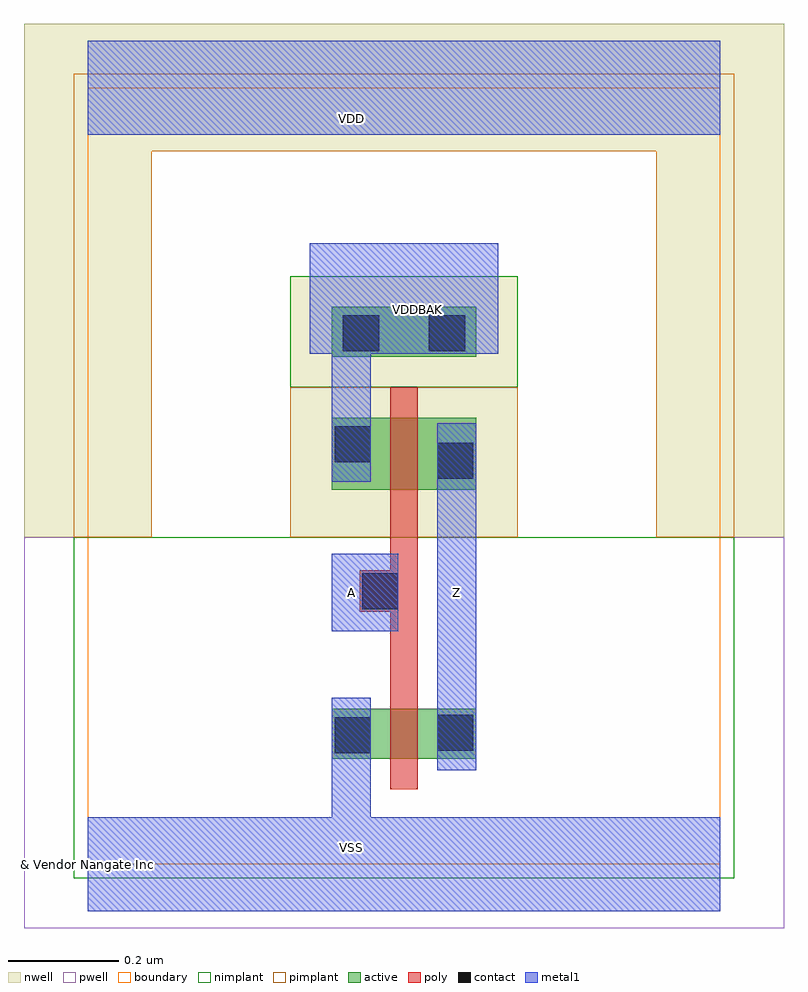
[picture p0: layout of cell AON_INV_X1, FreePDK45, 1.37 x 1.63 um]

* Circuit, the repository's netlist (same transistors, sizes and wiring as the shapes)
* 
* ******************************************************************************
* *                                                                            *
* *                   Copyright (C) 2004-2011, Nangate Inc.                    *
* *                           All rights reserved.                             *
* *                                                                            *
* * Nangate and the Nangate logo are trademarks of Nangate Inc.                *
* *                                                                            *
* * All trademarks, logos, software marks, and trade names (collectively the   *
* * "Marks") in this program are proprietary to Nangate or other respective    *
* * owners that have granted Nangate the right and license to use such Marks.  *
* * You are not permitted to use the Marks without the prior written consent   *
* * of Nangate or such third party that may own the Marks.                     *
* *                                                                            *
* * This file has been provided pursuant to a License Agreement containing     *
* * restrictions on its use. This file contains valuable trade secrets and     *
* * proprietary information of Nangate Inc., and is protected by U.S. and      *
* * international laws and/or treaties.                                        *
* *                                                                            *
* * The copyright notice(s) in this file does not indicate actual or intended  *
* * publication of this file.                                                  *
* *                                                                            *
* *     NGLibraryCreator, v2010.08-HR32-SP3-2010-08-05 - build 1009061800      *
* *                                                                            *
* ******************************************************************************
* 
* 
* Running on server08.nangate.com for user Giancarlo Franciscatto (gfr).
* Local time is now Thu, 6 Jan 2011, 19:45:43.
* Main process id is 3320.
*
********************************************************************************
*                                                                              *
* Cellname:   AON_INV_X1.                                                      *
*                                                                              *
* Technology: NCSU FreePDK 45nm.                                               *
* Format:     Cdl.                                                             *
*                                                                              *
* Written on server08.nangate.com for user Giancarlo Franciscatto (gfr)        *
* at 19:45:43 on Thu, 6 Jan 2011.                                              *
*                                                                              *
********************************************************************************
.SUBCKT AON_INV_X1 A Z VDD VDDBAK VSS 
*.PININFO A:I Z:O VDD:P VDDBAK:P VSS:G 
*.EQN Z=!A
M_i_0 Z A VSS VSS NMOS_VTL W=0.090000U L=0.050000U
M_i_7 Z A VDDBAK VDDBAK PMOS_VTL W=0.130000U L=0.050000U
.ENDS 

********************************************************************************
*
* END
*
********************************************************************************

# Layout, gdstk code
import gdstk
lib = gdstk.Library(unit=1e-6, precision=1e-10)
def R(c, l, rs):  # rectangles x0, y0, x1, y1
    for r in rs: c.add(gdstk.rectangle(r[:2], r[2:], *l))
def P(c, l, *ps):  # polygons
    for p in ps: c.add(gdstk.Polygon(p, *l))
active = (1, 0)
pwell = (2, 0)
nwell = (3, 0)
nimplant = (4, 0)
pimplant = (5, 0)
poly = (9, 0)
contact = (10, 0)
metal1 = (11, 0)
boundary = (235, 0)

aon_inv_x1 = lib.new_cell('AON_INV_X1')
R(aon_inv_x1, active, [(0.44,0.19,0.7,0.28), (0.44,0.675,0.7,0.805), (0.44,0.915,0.7,1.005)])
R(aon_inv_x1, pwell, [(-0.115,-0.115,1.255,0.59)])
R(aon_inv_x1, nwell, [(0.365,0.59,0.775,1.06)])
P(aon_inv_x1, nwell, [(-0.115,0.59),(0.115,0.59),(0.115,1.285),(1.025,1.285),(1.025,0.59),(1.255,0.59),(1.255,1.515),(-0.115,1.515)])
R(aon_inv_x1, nimplant, [(-0.025,-0.025,1.165,0.59), (0.365,0.86,0.775,1.06)])
R(aon_inv_x1, pimplant, [(0.365,0.59,0.775,0.86)])
P(aon_inv_x1, pimplant, [(-0.025,0.59),(0.115,0.59),(0.115,1.285),(1.025,1.285),(1.025,0.59),(1.165,0.59),(1.165,1.425),(-0.025,1.425)])
P(aon_inv_x1, poly, [(0.49,0.455),(0.545,0.455),(0.545,0.135),(0.595,0.135),(0.595,0.86),(0.545,0.86),(0.545,0.53),(0.49,0.53)])
R(aon_inv_x1, contact, [(0.445,0.2,0.51,0.265), (0.63,0.205,0.695,0.27), (0.495,0.46,0.56,0.525), (0.63,0.695,0.695,0.76), (0.445,0.725,0.51,0.79), (0.46,0.925,0.525,0.99), (0.615,0.925,0.68,0.99)])
R(aon_inv_x1, metal1, [(0.63,0.17,0.7,0.795), (0.44,0.42,0.56,0.56), (0,1.315,1.14,1.485)])
P(aon_inv_x1, metal1, [(0.4,0.92),(0.44,0.92),(0.44,0.69),(0.51,0.69),(0.51,0.92),(0.74,0.92),(0.74,1.12),(0.4,1.12)],
  [(0,-0.085),(1.14,-0.085),(1.14,0.085),(0.51,0.085),(0.51,0.3),(0.44,0.3),(0.44,0.085),(0,0.085)])
R(aon_inv_x1, boundary, [(0,0,1.14,1.4)])
aon_inv_x1.add(gdstk.Label('VDDBAK', (0.595,1), layer=11, texttype=0))
aon_inv_x1.add(gdstk.Label('Z', (0.665,0.49), layer=11, texttype=0))
aon_inv_x1.add(gdstk.Label('A', (0.475,0.49), layer=11, texttype=0))
aon_inv_x1.add(gdstk.Label('VSS', (0.475,0.03), layer=11, texttype=0))
aon_inv_x1.add(gdstk.Label('VDD', (0.475,1.345), layer=11, texttype=0))
aon_inv_x1.add(gdstk.Label('& Vendor Nangate Inc', (0,0), layer=63, texttype=63))
aon_inv_x1.add(gdstk.Label('& Product Open Cell Library', (0,0), layer=63, texttype=63))
aon_inv_x1.add(gdstk.Label('& Version 2010_12', (0,0), layer=63, texttype=63))
aon_inv_x1.add(gdstk.Label('& Instance AON_INV_X1', (0,0), layer=63, texttype=63))

lib.write_gds('AON_INV_X1.gds')
